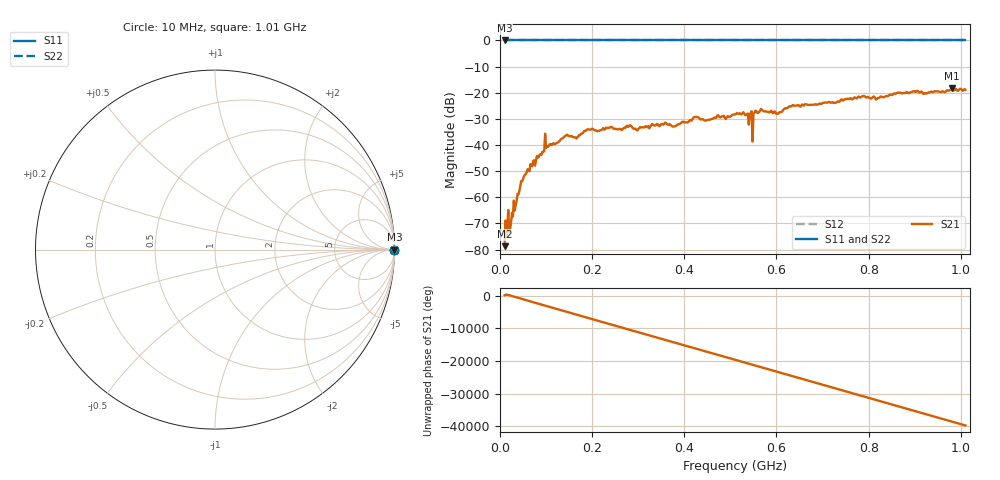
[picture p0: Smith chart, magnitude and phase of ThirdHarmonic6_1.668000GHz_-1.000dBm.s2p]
! 8/16/2025 8:00:03 PM
! C:\ANRITSUVNA\TEMP\TEMP.S2P
! CHANNEL.1
! TR.MEASUREMENT
! RAW.DATA
! RF.CORRECTION.OFF
! AVERAGING.OFF
! IF.BANDWIDTH: 5KHZ
! SWEEPTYPE:  FREQ.SWEEP(Linear)
! Reference Plane Port Info
! PORT:  PORT1  PORT2
! DISTANCE:  0  m  0  m
! TIME:  0  s  0  s
! PHASE.OFFSET:  0  deg.  0  deg.
! LOSS:  0  dB  0  dB
! REF.LOSS:  0  dB  0  dB
! REF.FREQ:  0  Hz  0  Hz
! Power Info
! POWER:  -20  dBm  -20  dBm
! EFF.POWER:  -20  dBm  -20  dBm
! SOURCE.ATTEN:  0  dB  0  dB
! TEST.ATTEN:  0  dB  0  dB
# GHZ S RI R 50.0
! FREQ.GHZ  S11RE  S11IM  S21RE  S21IM  S12RE  S12IM  S22RE  S22IM
!; PortSelection: Port_12
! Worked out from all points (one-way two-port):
!   501 points, 10 MHz to 1.01 GHz, reference 50 ohm
!   highest |S21| = -18.38 dB at 980 MHz (marker M1); lowest = -78.7 dB at 10 MHz (marker M2)
!   lowest |S11| = 0.0 dB at 10 MHz (marker M3)
!   |S11| at or under -10 dB: nowhere
!   |S22| runs from 0.0 to 0.0 dB; largest |S21 - S12| = 1.1
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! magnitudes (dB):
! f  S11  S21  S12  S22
! 10 MHz  0.0  -78.7  0.0  0.0
! 14 MHz  0.0  -75.0  0.0  0.0
! 24 MHz  0.0  -69.6  0.0  0.0
! 48 MHz  0.0  -53.9  0.0  0.0
! 70 MHz  0.0  -48.1  0.0  0.0
! 102 MHz  0.0  -40.4  0.0  0.0
! 178 MHz  0.0  -35.6  0.0  0.0
! 344 MHz  0.0  -32.5  0.0  0.0
! 378 MHz  0.0  -32.9  0.0  0.0
! 424 MHz  0.0  -29.3  0.0  0.0
! 510 MHz  0.0  -28.3  0.0  0.0
! 542 MHz  0.0  -28.2  0.0  0.0
! 544 MHz  0.0  -27.8  0.0  0.0
! 552 MHz  0.0  -27.7  0.0  0.0
! 554 MHz  0.0  -26.9  0.0  0.0
! 566 MHz  0.0  -26.2  0.0  0.0
! 604 MHz  0.0  -28.0  0.0  0.0
! 632 MHz  0.0  -25.3  0.0  0.0
! 678 MHz  0.0  -24.6  0.0  0.0
! 844 MHz  0.0  -21.0  0.0  0.0
! 980 MHz  0.0  -18.4  0.0  0.0
! 1.01 GHz  0.0  -18.9  0.0  0.0
